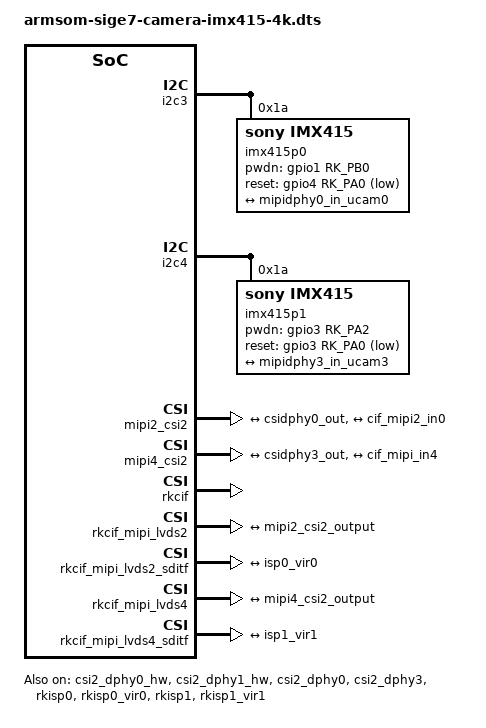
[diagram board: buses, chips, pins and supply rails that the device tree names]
/dts-v1/;
/plugin/;

#include <dt-bindings/clock/rk3588-cru.h>
#include <dt-bindings/power/rk3588-power.h>
#include <dt-bindings/gpio/gpio.h>
#include <dt-bindings/pinctrl/rockchip.h>

/ {
	fragment@0 {
		target = <&i2c3>;

		__overlay__ {
			status = "okay";
			#address-cells = <1>;
			#size-cells = <0>;

			imx415p0: imx415p0@1a {
				status = "okay";
				compatible = "sony,imx415";
				reg = <0x1a>;
				clocks = <&cru CLK_MIPI_CAMARAOUT_M3>;
				clock-names = "xvclk";
				pinctrl-names = "default";
				pinctrl-0 = <&mipim0_camera3_clk>;
				power-domains = <&power RK3588_PD_VI>;
				pwdn-gpios = <&gpio1 RK_PB0 GPIO_ACTIVE_HIGH>;
				reset-gpios = <&gpio4 RK_PA0 GPIO_ACTIVE_LOW>;
				rockchip,camera-module-index = <0>;
				rockchip,camera-module-facing = "back";
				rockchip,camera-module-name = "CMK-OT2022-PX1";
				rockchip,camera-module-lens-name = "IR0147-50IRC-8M-F20";
				port {
					imx415_out0: endpoint {
						remote-endpoint = <&mipidphy0_in_ucam0>;
						data-lanes = <1 2 3 4>;
					};
				};
			};
		};
	};

	fragment@1 {
		target = <&i2c4>;

		__overlay__ {
			status = "okay";
			#address-cells = <1>;
			#size-cells = <0>;
			pinctrl-names = "default";
			pinctrl-0 = <&i2c4m1_xfer>;
			
			imx415p1: imx415p1@1a {
				status = "okay";
				compatible = "sony,imx415";
				reg = <0x1a>;
				clocks = <&cru CLK_MIPI_CAMARAOUT_M2>;
				clock-names = "xvclk";
				pinctrl-names = "default";
				pinctrl-0 = <&mipim0_camera2_clk>;
				power-domains = <&power RK3588_PD_VI>;
				pwdn-gpios = <&gpio3 RK_PA2 GPIO_ACTIVE_HIGH>;
				reset-gpios = <&gpio3 RK_PA0 GPIO_ACTIVE_LOW>;
				rockchip,camera-module-index = <1>;
				rockchip,camera-module-facing = "back";
				rockchip,camera-module-name = "CMK-OT2022-PX1";
				rockchip,camera-module-lens-name = "IR0147-50IRC-8M-F20";
				port {
					imx415_out3: endpoint {
						remote-endpoint = <&mipidphy3_in_ucam3>;
						data-lanes = <1 2 3 4>;
					};
				};
			};
		};
	};

	fragment@2 {
		target = <&csi2_dphy0_hw>;

		__overlay__ {
			status = "okay";
		};
	};

	fragment@3 {
		target = <&csi2_dphy1_hw>;

		__overlay__ {
			status = "okay";
		};
	};


	fragment@4 {
		target = <&csi2_dphy0>;

		__overlay__ {
			status = "okay";

			ports {
				#address-cells = <1>;
				#size-cells = <0>;

				port@0 {
					reg = <0>;
					#address-cells = <1>;
					#size-cells = <0>;

					mipidphy0_in_ucam0: endpoint@1 {
						reg = <1>;
						remote-endpoint = <&imx415_out0>;
						data-lanes = <1 2 3 4>;
					};
				};

				port@1 {
					reg = <1>;
					#address-cells = <1>;
					#size-cells = <0>;

					csidphy0_out: endpoint@0 {
						reg = <0>;
						remote-endpoint = <&mipi2_csi2_input>;
					};
				};
			};
		};
	};

	fragment@5 {
		target = <&csi2_dphy3>;

		__overlay__ {
			status = "okay";

			ports {
				#address-cells = <1>;
				#size-cells = <0>;

				port@0 {
					reg = <0>;
					#address-cells = <1>;
					#size-cells = <0>;

					mipidphy3_in_ucam3: endpoint@1 {
						reg = <1>;
						remote-endpoint = <&imx415_out3>;
						data-lanes = <1 2 3 4>;
					};

				};

				port@1 {
					reg = <1>;
					#address-cells = <1>;
					#size-cells = <0>;

					csidphy3_out: endpoint@0 {
						reg = <0>;
						remote-endpoint = <&mipi4_csi2_input>;
					};
				};
			};
		};
	};

	fragment@6 {
		target = <&mipi2_csi2>;

		__overlay__ {
			status = "okay";

			ports {
				#address-cells = <1>;
				#size-cells = <0>;

				port@0 {
					reg = <0>;
					#address-cells = <1>;
					#size-cells = <0>;

					mipi2_csi2_input: endpoint@1 {
						reg = <1>;
						remote-endpoint = <&csidphy0_out>;
					};
				};

				port@1 {
					reg = <1>;
					#address-cells = <1>;
					#size-cells = <0>;

					mipi2_csi2_output: endpoint@0 {
						reg = <0>;
						remote-endpoint = <&cif_mipi2_in0>;
					};
				};
			};
		};
	};

	fragment@7 {
		target = <&mipi4_csi2>;

		__overlay__ {
			status = "okay";

			ports {
				#address-cells = <1>;
				#size-cells = <0>;

				port@0 {
					reg = <0>;
					#address-cells = <1>;
					#size-cells = <0>;

					mipi4_csi2_input: endpoint@1 {
						reg = <1>;
						remote-endpoint = <&csidphy3_out>;
					};
				};

				port@1 {
					reg = <1>;
					#address-cells = <1>;
					#size-cells = <0>;

					mipi4_csi2_output: endpoint@0 {
						reg = <0>;
						remote-endpoint = <&cif_mipi_in4>;
					};
				};
			};
	    };
	};

	fragment@8 {
		target = <&rkcif>;

		__overlay__ {
			status = "okay";
		};
	};

	fragment@9 {
		target = <&rkcif_mipi_lvds2>;

		__overlay__ {
			status = "okay";

			port {
				cif_mipi2_in0: endpoint {
					remote-endpoint = <&mipi2_csi2_output>;
				};
			};
		};
	};

	fragment@10 {
		target = <&rkcif_mipi_lvds2_sditf>;

		__overlay__ {
			status = "okay";

			port {
				mipi_lvds2_sditf: endpoint {
					remote-endpoint = <&isp0_vir0>;
				};
			};
		};
	};

	fragment@11 {
		target = <&rkcif_mipi_lvds4>;

		__overlay__ {
			status = "okay";

			port {
				cif_mipi_in4: endpoint {
					remote-endpoint = <&mipi4_csi2_output>;
				};
			};
		};
	};

	fragment@12 {
		target = <&rkcif_mipi_lvds4_sditf>;

		__overlay__ {
			status = "okay";

			port {
				mipi4_lvds_sditf: endpoint {
					remote-endpoint = <&isp1_vir1>;
				};
			};

		};
	};

	fragment@13 {
		target = <&rkcif_mmu>;

		__overlay__ {
			status = "okay";
		};
	};

	fragment@14 {
		target = <&isp0_mmu>;

		__overlay__ {
			status = "okay";
		};
	};

	fragment@15 {
		target = <&rkisp0>;

		__overlay__ {
			status = "okay";
		};
	};

	fragment@16 {
		target = <&rkisp0_vir0>;

		__overlay__ {
			status = "okay";

			port {
				#address-cells = <1>;
				#size-cells = <0>;

				isp0_vir0: endpoint@0 {
					reg = <0>;
					remote-endpoint = <&mipi_lvds2_sditf>;
				};
			};
		};
	};

	fragment@17 {
		target = <&rkisp1>;

		__overlay__ {
			status = "okay";
		};
	};

	fragment@18 {
		target = <&isp1_mmu>;

		__overlay__ {
			status = "okay";
		};
	};

	fragment@19 {
		target = <&rkisp1_vir1>;

		__overlay__ {
			status = "okay";

			port {
				#address-cells = <1>;
				#size-cells = <0>;

				isp1_vir1: endpoint@0 {
					reg = <0>;
					remote-endpoint = <&mipi4_lvds_sditf>;
				};
			};
		};
	};
	
};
